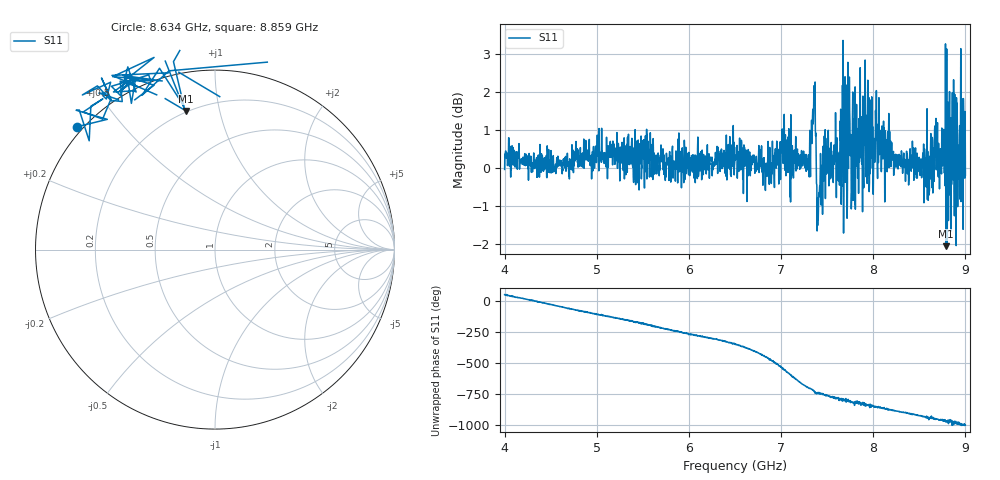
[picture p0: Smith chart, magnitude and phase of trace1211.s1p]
! Created with skrf 1.8.0 (http://scikit-rf.org).
# Hz S RI R 50.0
!freq ReS11 ImS11
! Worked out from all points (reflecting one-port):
!   1601 points, 4 GHz to 9 GHz, reference 50 ohm
!   lowest |S11| = -2.1 dB at 8.788 GHz (marker M1), VSWR 8.48, Z = 9.71 + j39.7 ohm
!   phase of S11 starts at 51 deg and turns -1054 deg over the sweep
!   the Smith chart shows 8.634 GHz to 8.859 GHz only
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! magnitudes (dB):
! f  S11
! 4 GHz  0.0
! 4.625 GHz  -0.2
! 5.25 GHz  -0.3
! 5.875 GHz  0.3
! 6.5 GHz  0.2
! 6.825 GHz  -0.2
! 7.022 GHz  0.1
! 7.125 GHz  0.2
! 7.294 GHz  -0.1
! 7.353 GHz  1.5
! 7.409 GHz  -0.7
! 7.481 GHz  -0.8
! 7.634 GHz  -0.5
! 7.684 GHz  -0.1
! 7.703 GHz  -0.1
! 7.75 GHz  0.3
! 7.775 GHz  1.4
! 7.928 GHz  1.4
! 7.981 GHz  0.3
! 8.05 GHz  1.1
! 8.375 GHz  -0.2
! 8.612 GHz  -0.1
! 8.675 GHz  0.3
! 8.725 GHz  0.3
! 8.788 GHz  -2.1
! 8.856 GHz  0.7
! 8.959 GHz  1.8
! 9 GHz  -0.2
